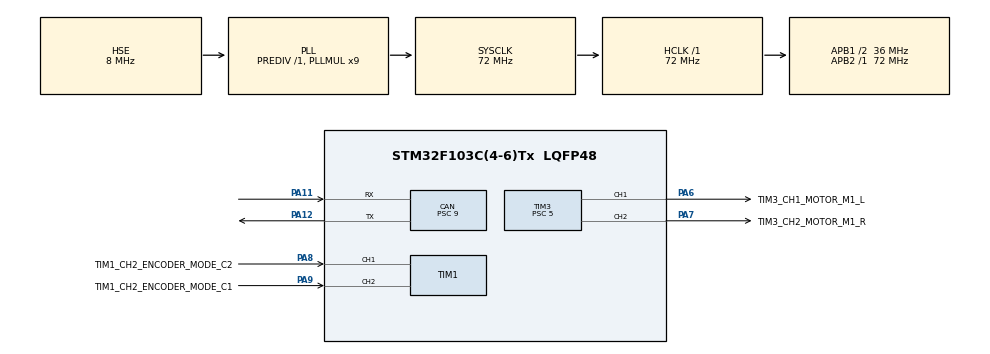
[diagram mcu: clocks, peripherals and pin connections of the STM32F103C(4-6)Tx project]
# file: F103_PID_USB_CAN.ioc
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CAN.BS1=CAN_BS1_2TQ
CAN.CalculateBaudRate=1000000
CAN.CalculateTimeBit=1000
CAN.CalculateTimeQuantum=250.0
CAN.Prescaler=9
Mcu.Family=STM32F1
Mcu.Name=STM32F103C(4-6)Tx
Mcu.Package=LQFP48
NVIC.CAN1_RX1_IRQn=true\:0\:0\:false\:false\:true\:true\:true\:true
NVIC.PriorityGroup=NVIC_PRIORITYGROUP_4
NVIC.TIM2_IRQn=true\:0\:0\:false\:false\:true\:true\:true\:true
PA11.Mode=CAN_Activate
PA11.Signal=CAN_RX
PA12.Mode=CAN_Activate
PA12.Signal=CAN_TX
PA13.Mode=Serial_Wire
PA13.Signal=SYS_JTMS-SWDIO
PA14.Mode=Serial_Wire
PA14.Signal=SYS_JTCK-SWCLK
PA6.GPIO_Label=TIM3_CH1_MOTOR_M1_L
PA6.Signal=S_TIM3_CH1
PA7.GPIO_Label=TIM3_CH2_MOTOR_M1_R
PA7.Signal=S_TIM3_CH2
PA8.GPIO_Label=TIM1_CH2_ENCODER_MODE_C2
PA8.Signal=S_TIM1_CH1
PA9.GPIO_Label=TIM1_CH2_ENCODER_MODE_C1
PA9.Signal=S_TIM1_CH2
PD0-OSC_IN.Mode=HSE-External-Oscillator
PD0-OSC_IN.Signal=RCC_OSC_IN
PD1-OSC_OUT.Mode=HSE-External-Oscillator
PD1-OSC_OUT.Signal=RCC_OSC_OUT
ProjectManager.HeapSize=0x200
ProjectManager.StackSize=0x400
ProjectManager.TargetToolchain=STM32CubeIDE
RCC.AHBFreq_Value=72000000
RCC.APB1CLKDivider=RCC_HCLK_DIV2
RCC.APB1Freq_Value=36000000
RCC.APB1TimFreq_Value=72000000
RCC.APB2Freq_Value=72000000
RCC.APB2TimFreq_Value=72000000
RCC.HCLKFreq_Value=72000000
RCC.PLLMUL=RCC_PLL_MUL9
RCC.PLLSourceVirtual=RCC_PLLSOURCE_HSE
RCC.SYSCLKFreq_VALUE=72000000
RCC.SYSCLKSource=RCC_SYSCLKSOURCE_PLLCLK
RCC.USBFreq_Value=72000000
SH.S_TIM1_CH1.0=TIM1_CH1,Encoder_Interface
SH.S_TIM1_CH2.0=TIM1_CH2,Encoder_Interface
SH.S_TIM3_CH1.0=TIM3_CH1,PWM Generation1 CH1
SH.S_TIM3_CH2.0=TIM3_CH2,PWM Generation2 CH2
TIM1.AutoReloadPreload=TIM_AUTORELOAD_PRELOAD_DISABLE
TIM1.EncoderMode=TIM_ENCODERMODE_TI12
TIM2.Period=9999
TIM2.Prescaler=143
TIM3.AutoReloadPreload=TIM_AUTORELOAD_PRELOAD_ENABLE
TIM3.Channel-PWM\ Generation1\ CH1=TIM_CHANNEL_1
TIM3.Channel-PWM\ Generation2\ CH2=TIM_CHANNEL_2
TIM3.Period=999
TIM3.Prescaler=5
VP_TIM2_VS_ClockSourceINT.Mode=Internal
VP_TIM3_VS_ClockSourceINT.Mode=Internal
board=custom

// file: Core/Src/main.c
/* USER CODE BEGIN Header */
/**
  ******************************************************************************
  * @file           : main.c
  * @brief          : Main program body
  ******************************************************************************
  * @attention
  *
  * Copyright (c) 2023 STMicroelectronics.
  * All rights reserved.
  *
  * This software is licensed under terms that can be found in the LICENSE file
  * in the root directory of this software component.
  * If no LICENSE file comes with this software, it is provided AS-IS.
  *
  ******************************************************************************
  */
/* USER CODE END Header */
#include "main.h"
#include "can.h"
#include "tim.h"
#include "gpio.h"

/* USER CODE BEGIN Includes */

#include "PID.h"
#include <stdlib.h>

/* USER CODE END Includes */

/* USER CODE BEGIN PTD */

	PIDController MPID;

/* USER CODE END PTD */

/* USER CODE BEGIN PM */

	/* WITH BOYLOY ADD TUA = 0.009 */

		// #define MKp 0.2866
		// #define MKi 5.109

	/* WITH TEACHER CHIVORN TUA = 0.09 */

		#define MKp 0.8280
		#define MKi 179.14

		#define MKd 0.0

/* USER CODE END PM */

/* USER CODE BEGIN PV */

	/* CAN */

		CAN_RxHeaderTypeDef RxHeader;
		uint8_t RxData[8];
		CAN_TxHeaderTypeDef TxHeader;
		uint8_t TxData[8];
		uint32_t TxMailbox;
		uint16_t ReadValue;

		float RxData1 = 0;
		float RxData2 = 0;
		float RxData3 = 0;
		float RxData4 = 0;

	/* TAGET SPEED OF RGB */

		float V1 = 0;
		float V2 = 0;
		float V3 = 0;
		float V4 = 0;

	/* TAGET SPEED OF MOTOR */

		float M1 ;
		float M2 ;
		float M3;
		float M4 ;

	/* V OUT RGB */

		uint16_t V = 0;
		uint16_t V1_out = 0;
		uint16_t V2_out = 0;
		uint16_t V3_out = 0;
		uint16_t V4_out = 0;

	/* M OUT MOTOR */

		float M1_out = 0;
		float M2_out = 0;

		uint16_t M3_out = 0;
		uint16_t M4_out = 0;

		uint8_t flag = 0;
		uint8_t cntt;

	/* PID */

		#define pi 3.1415
		#define Motor1 0

		#define CPR 1292  /* COUNT PER REVOTION */
		#define Sample_time 20 // MS

		uint16_t cnt[1];
		uint16_t Enc_count[1];

		uint16_t v;
		uint16_t count[1]; /* COUNT PULSE FOR ENCODER */
		uint16_t new_count[1];
		uint8_t count_state[1];
		uint16_t diff[1]; /* DIFFENCE BETWEEN COUNT AND NEW_COUNT IN A SAMPLE TIME  */
		uint16_t c;

		float speedM[1];
		float rdps[1];

		float Motor1_speed ;
		float V1 ; /* TARGET SPEED OF MOTOR 1 */
		float pwm_M1 ;

/* USER CODE END PV */

void SystemClock_Config(void);
/* USER CODE BEGIN PFP */

/* MAP */

float map(float Input, float Min_Input, float Max_Input, float Min_Output, float Max_Output) {
	return (float) ((Input - Min_Input) * (Max_Output - Min_Output) / (Max_Input - Min_Input) + Min_Output);
}

/* STM32 INTERUPP RECEIVER FROM USB CAN */

	void HAL_CAN_RxFifo1MsgPendingCallback(CAN_HandleTypeDef *hcan) {
		HAL_CAN_GetRxMessage(hcan, CAN_RX_FIFO1, &RxHeader, RxData);
		cntt++;
		while (cntt - 100 > 0) {
			HAL_GPIO_TogglePin(GPIOC, GPIO_PIN_13);
			cntt = 0;
		}

	/* DATA RECIEVER FROM USB CAN */

		if (RxHeader.DLC == 8) {
		RxData1 = (RxData[0] << 8) | RxData[1];
		RxData2 = (RxData[2] << 8) | RxData[3];
		RxData3 = (RxData[4] << 8) | RxData[5];
		RxData4 = (RxData[6] << 8) | RxData[7];

	/* TRANFER TO SPEED */

		/* M MOTOR */

			M1 = RxData1;
			M2 = RxData2;
			M3 = RxData3;
			M4 = RxData4;

			/* MAP TX DATA FROM 8BIT TO 16BIT (MOTOR ) */

				/* MAPPING MOTOR */

					M1_out = map(M1, 0, 65535, -64, 64);
					M2_out = map(M2, 0, 65535, -64, 64);

					flag = 1;
	}
}

float Motors_RPS(int j, float SampleTime, float N_round)
{

	/* ENCODER MODE */

		new_count[j] = TIM1->CNT;
		count_state[j] = __HAL_TIM_IS_TIM_COUNTING_DOWN(&htim1);

		if (count_state[j])
			{
				if (new_count[j] <= count[j])
				{
					diff[j] = count[j] - new_count[j]; /* CHECK FOR COUNTER UNDERFLOW */
				}
				else
				{
					diff[j] = (65536 - new_count[j]) + count[j];
				}
				speedM[j] = (float)diff[j] * 1000.0f / (N_round * SampleTime)*-1;
			}
			else
			{
				if (new_count[j] >= count[j])
				{
					diff[j] = new_count[j] - count[j]; /* CHECK FOR COUNTER OVERFLOW */
				}
				else
				{
					diff[j] = (65536 - count[j]) + new_count[j];
				}
				speedM[j] = (float)diff[j] * 1000.0f / (N_round * SampleTime);
			}

			rdps[j] = -2.0f * pi * speedM[j];
			count[j] = new_count[j];

			return rdps[j];
}

/* USER CODE END PFP */

int main(void)
{
  /* USER CODE BEGIN 1 */

	/* INNITAIL PARAMET PID */

		PID_Init(&MPID, 1);
		MPID.T = 0.02;		/* T = 10MS */
		MPID.limMax = 1000;
		MPID.limMin = -1000;
		MPID.limMaxInt = 1000;
		MPID.limMinInt = -1000;
		MPID.tau = 0;	/* FOR Kd */

  /* USER CODE END 1 */

  /* MCU Configuration--------------------------------------------------------*/

  /* Reset of all peripherals, Initializes the Flash interface and the Systick. */
  HAL_Init();

  /* Configure the system clock */
  SystemClock_Config();

  /* Initialize all configured peripherals */
  MX_GPIO_Init();
  MX_CAN_Init();
  MX_TIM1_Init();
  MX_TIM2_Init();
  MX_TIM3_Init();
  /* USER CODE BEGIN 2 */

	/* CAN */

		HAL_CAN_Start(&hcan);

	/* STRUCTUR TRANSMITTER DATA */

		HAL_CAN_ActivateNotification(&hcan, CAN_IT_RX_FIFO1_MSG_PENDING);
		TxHeader.DLC = 8;
		TxHeader.IDE = CAN_ID_STD;
		TxHeader.RTR = CAN_RTR_DATA;
		TxHeader.StdId = 0x103; /* 0b11001010001 */

	/* TIMER ENCODER MODE */

		 HAL_TIM_Encoder_Start(&htim1, TIM_CHANNEL_ALL);

	/* TIMER */

		HAL_TIM_Base_Start_IT(&htim2);

	/* TIMER 3 MOTOR */

		HAL_TIM_PWM_Start(&htim3, TIM_CHANNEL_1);
		HAL_TIM_PWM_Start(&htim3, TIM_CHANNEL_2);

	/* MAP TX DATA FROM 8BIT TO 16BIT (RGB) */

		V1_out = map(V, 0, 255, 0, 65535);
		V2_out = map(V, 0, 225, 0, 65535);
		V3_out = map(V, 0, 225, 0, 65535);
		V4_out = map(V, 0, 225, 0, 65535);

  /* USER CODE END 2 */

  /* Infinite loop */
  while (1)
  {

  }
}

void SystemClock_Config(void)
{
  RCC_OscInitTypeDef RCC_OscInitStruct = {0};
  RCC_ClkInitTypeDef RCC_ClkInitStruct = {0};

  /** Initializes the RCC Oscillators according to the specified parameters
  * in the RCC_OscInitTypeDef structure.
  */
  RCC_OscInitStruct.OscillatorType = RCC_OSCILLATORTYPE_HSE;
  RCC_OscInitStruct.HSEState = RCC_HSE_ON;
  RCC_OscInitStruct.HSEPredivValue = RCC_HSE_PREDIV_DIV1;
  RCC_OscInitStruct.HSIState = RCC_HSI_ON;
  RCC_OscInitStruct.PLL.PLLState = RCC_PLL_ON;
  RCC_OscInitStruct.PLL.PLLSource = RCC_PLLSOURCE_HSE;
  RCC_OscInitStruct.PLL.PLLMUL = RCC_PLL_MUL9;
  if (HAL_RCC_OscConfig(&RCC_OscInitStruct) != HAL_OK)
  {
    Error_Handler();
  }

  /** Initializes the CPU, AHB and APB buses clocks
  */
  RCC_ClkInitStruct.ClockType = RCC_CLOCKTYPE_HCLK|RCC_CLOCKTYPE_SYSCLK
                              |RCC_CLOCKTYPE_PCLK1|RCC_CLOCKTYPE_PCLK2;
  RCC_ClkInitStruct.SYSCLKSource = RCC_SYSCLKSOURCE_PLLCLK;
  RCC_ClkInitStruct.AHBCLKDivider = RCC_SYSCLK_DIV1;
  RCC_ClkInitStruct.APB1CLKDivider = RCC_HCLK_DIV2;
  RCC_ClkInitStruct.APB2CLKDivider = RCC_HCLK_DIV1;

  if (HAL_RCC_ClockConfig(&RCC_ClkInitStruct, FLASH_LATENCY_2) != HAL_OK)
  {
    Error_Handler();
  }
}

/* USER CODE BEGIN 4 */

/* MAKER TIMER INTERRUPP 1mS */

	void HAL_TIM_PeriodElapsedCallback(TIM_HandleTypeDef *htim) {
		if (htim->Instance == TIM2) {

			/* TEST SPEED MOTOR */

				//Motor1_speed = Motors_RPS(Motor1, Sample_time, CPR);

				// TIM3->CCR1 = 0;
				// TIM3->CCR2 = V1;

			/* PID */

				/* PID NEED TO CHANGE FOR USING */

					pwm_M1 = PID(&MPID, M1_out, Motor1_speed, MKp, MKi, MKd, Motor1);

				/* MEASURMENT FEEDBACK SPEED */

					Motor1_speed = Motors_RPS(Motor1, Sample_time, CPR);

					if (M1_out > 0) {
						TIM3->CCR1 = 0;
						TIM3->CCR2 = pwm_M1;
					}
					else if(M1_out < 0) {
						TIM3->CCR1 = -1 * pwm_M1;
						TIM3->CCR2 = 0;
					}
					else
					{
						TIM3->CCR2 = 0;
						TIM3->CCR1 = 0;
					}

		/* TX DATA SEND TO PC MAP 16BIT TO 8BIT COZ DATA CAN 1DATA=8BIT */

			TxData[0] = ((V1_out & 0xFF00) >> 8);
			TxData[1] = (V1_out & 0x00FF);
			TxData[2] = ((V2_out & 0xFF00) >> 8);
			TxData[3] = (V2_out & 0x00FF);
			TxData[4] = ((V3_out & 0xFF00) >> 8);
			TxData[5] = (V3_out & 0x00FF);
			TxData[6] = ((V4_out & 0xFF00) >> 8);
			TxData[7] = (V4_out & 0x00FF);

			if (flag ==1) {
				HAL_CAN_AddTxMessage(&hcan, &TxHeader, TxData, &TxMailbox);
				flag=0;

			}
		}
	}

/* USER CODE END 4 */

void Error_Handler(void)
{
  __disable_irq();
  while (1)
  {
  }
}
